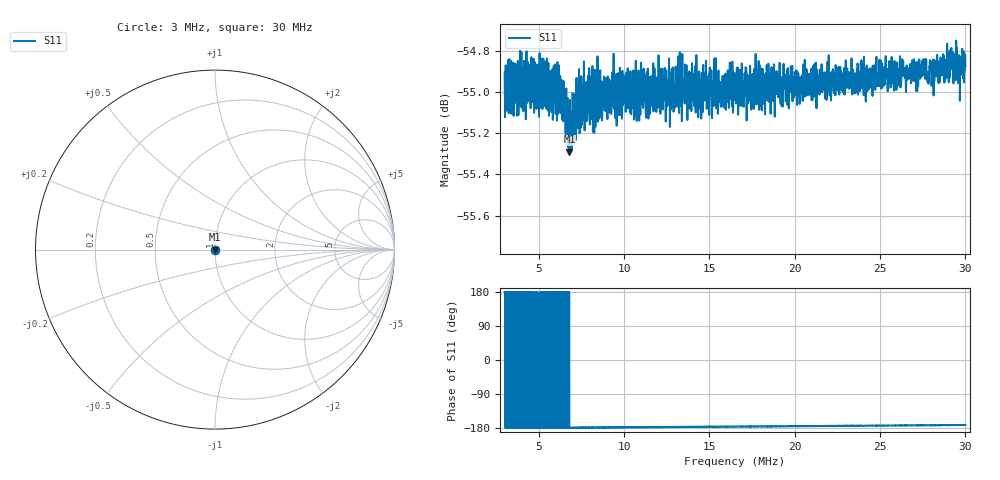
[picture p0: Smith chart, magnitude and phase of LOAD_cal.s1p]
! Created with skrf (http://scikit-rf.org).
# Hz S RI R 50.0
!freq ReS11 ImS11
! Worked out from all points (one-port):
!   2000 points, 3 MHz to 30 MHz, reference 50 ohm
!   lowest |S11| = -55.3 dB at 6.795 MHz (marker M1), VSWR 1.00, Z = 49.8 - j0.000157 ohm
!   |S11| at or under -10 dB: start of sweep to end of sweep
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3000000  -0.0018 9.24e-06
3121561  -0.00177 -2.32e-05
4134567  -0.00181 -3.56e-07
5161081  -0.00178 -3.08e-05
5714857  -0.00179 2.56e-06
5984992  -0.00176 1.26e-05
6376688  -0.00178 -2.05e-05
6795398  -0.00172 -1.58e-06
7241121  -0.00174 -4.43e-05
7848924  -0.00175 -5.53e-05
8119060  -0.00176 -8.44e-05
8470235  -0.00175 -4.2e-05
8753877  -0.00179 -4.06e-05
9145573  -0.00178 -4.12e-05
9402201  -0.00177 -4.47e-05
9753377  -0.0018 -5.26e-05
1.313007e7  -0.00177 -7.87e-05
1.650675e7  -0.00179 -0.000127
1.988344e7  -0.00177 -0.000165
2.326013e7  -0.00178 -0.000193
2.428664e7  -0.00178 -0.000217
2.563732e7  -0.00179 -0.000218
2.601551e7  -0.00177 -0.000223
2.628564e7  -0.0018 -0.000243
2.663682e7  -0.00178 -0.000227
2.889245e7  -0.00178 -0.000253
2.917609e7  -0.0018 -0.000274
3e7  -0.00179 -0.000261
